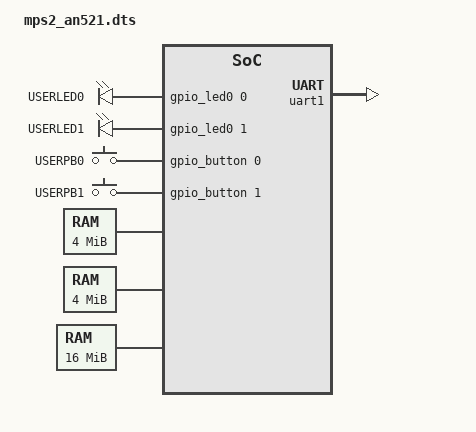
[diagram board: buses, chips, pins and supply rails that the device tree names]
/*
 * Copyright (c) 2018-2019 Linaro Limited
 *
 * SPDX-License-Identifier: Apache-2.0
 */

/dts-v1/;

#include <mem.h>
#include <arm/armv8-m.dtsi>
#include <zephyr/dt-bindings/i2c/i2c.h>

/ {
	compatible = "arm,mps2";
	#address-cells = <1>;
	#size-cells = <1>;

	aliases {
		led0 = &led_0;
		led1 = &led_1;
		sw0 = &user_button_0;
		sw1 = &user_button_1;
		uart-1 = &uart1;
		watchdog0 = &wdog0;
	};

	chosen {
		zephyr,console = &uart0;
		zephyr,shell-uart = &uart0;

		/*
		 * These SRAM and flash settings give the entire available
		 * code and data memories to this secure firmware image.
		 * This may conflict with mps2_an521_remote firmware. Use
		 * caution when using both targets simultaneously.
		 */
		zephyr,sram = &ssram2_3;
		zephyr,flash = &ssram1;
	};

	leds {
		compatible = "gpio-leds";
		led_0: led_0 {
			gpios = <&gpio_led0 0>;
			label = "USERLED0";
		};
		led_1: led_1 {
			gpios = <&gpio_led0 1>;
			label = "USERLED1";
		};
	};

	gpio_keys {
		compatible = "gpio-keys";
		user_button_0: button_0 {
			label = "USERPB0";
			gpios = <&gpio_button 0>;
		};
		user_button_1: button_1 {
			label = "USERPB1";
			gpios = <&gpio_button 1>;
		};
	};

	cpus {
		#address-cells = <1>;
		#size-cells = <0>;

		cpu@0 {
			device_type = "cpu";
			compatible = "arm,cortex-m33";
			reg = <0>;
			#address-cells = <1>;
			#size-cells = <1>;

			mpu: mpu@e000ed90 {
				compatible = "arm,armv8m-mpu";
				reg = <0xe000ed90 0x40>;
				arm,num-mpu-regions = <16>;
			};
		};
	};

	/*
	 * The memory regions defined below are according to AN521:
	 * https://documentation-service.arm.com/static/5fa12fe9b1a7c5445f29017f
	 *
	 * Please see tables mentioned in individual comments below for details.
	 */

	ssram1: memory@10000000 {
		/* Table 3-2, row 6. */
		compatible = "zephyr,memory-region", "mmio-sram";
		reg = <0x10000000 DT_SIZE_M(4)>;
		zephyr,memory-region = "SSRAM1";
	};

	ssram2_3: memory@38000000 {
		/* Table 3-4, rows 16 and 17. */
		compatible = "zephyr,memory-region", "mmio-sram";
		reg = <0x38000000 DT_SIZE_M(4)>;
		zephyr,memory-region = "SSRAM2_3";
	};

	psram: memory@80000000 {
		/* Table 3-6, row 1. */
		device_type = "memory";
		reg = <0x80000000 DT_SIZE_M(16)>;
	};

	soc {
		peripheral@50000000 {
			#address-cells = <1>;
			#size-cells = <1>;
			ranges = <0x0 0x50000000 0x10000000>;

			#include "mps2_an521-common.dtsi"
		};
	};
};

&nvic {
	arm,num-irq-priority-bits = <3>;
};

&uart1 {
	status = "okay";
};
